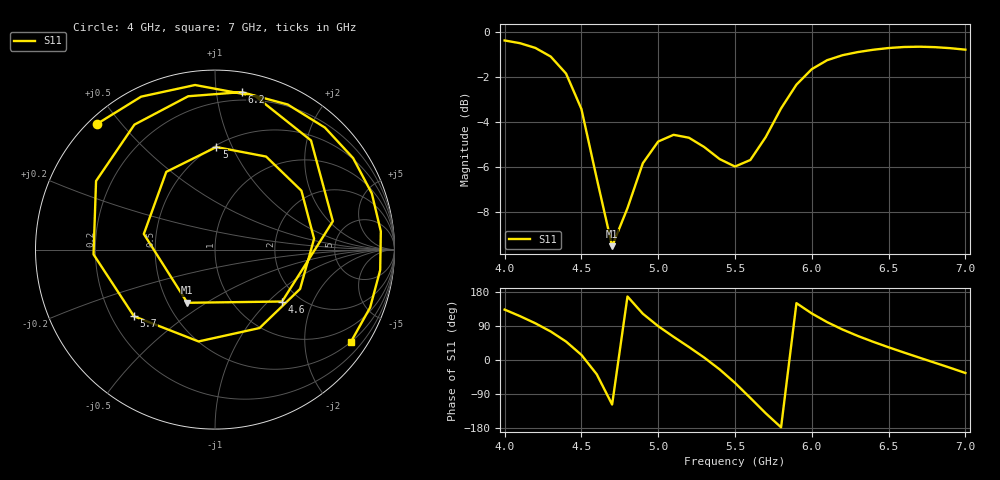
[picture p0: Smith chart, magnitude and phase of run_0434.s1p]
! Touchstone file exported from HFSS 2024.2.0
!  File:  C:/Users/wsak9/Desktop/Sim Fast/Widenad Patch/WP_AI_V1_sweep.aedt
!  Generated:  09:49:26 AM Oct 14, 2026
!  Design:  A1_model
!  Project:  WP_AI_V1_sweep
!  Setup:  Setup1
!  Solution:  Sweep
! Variables:
!  Air_gap = 2.47mm
!  Curve_Amp1 = 2.49
!  Curve_len1 = 1
!  Curve_pos = 11.91mm
!  Extra = 2.08mm
!  H_sub = 0.79mm
!  L_Patch = 19.82mm
!  L_Patch1 = 16.73mm
!  Sx = 4.13mm
!  Sy = 2.87mm
!  WS = 0.91mm
!  W_Patch = 10.24mm
!  W_Patch1 = 14.65mm
!Data is not renormalized
# GHz S MA
! Terminal data exported
! Port[1] = 1
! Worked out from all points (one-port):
!   31 points, 4 GHz to 7 GHz, reference per port
!   lowest |S11| = -9.5 dB at 4.7 GHz (marker M1), VSWR 2.00
!   |S11| at or under -10 dB: nowhere
!   S11 on the Smith chart (normalised r, x): 4 GHz: 0.02, +0.43; 4.6 GHz: 1.63, -1.22; 5 GHz: 0.51, +0.87; 5.7 GHz: 0.29, -0.33; 6.2 GHz: 0.14, +1.17; 7 GHz: 0.50, -3.17
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4  0.9597 133.0
4.1  0.9464 115.8
4.2  0.9237 96.9
4.3  0.8837 75.2
4.4  0.8099 48.7
4.5  0.6754 13.5
4.6  0.4726 -37.7
4.7  0.334 -117.5
4.8  0.406 167.6
4.9  0.5112 122.1
5  0.5714 89.3
5.1  0.5914 61.2
5.2  0.5827 34.3
5.3  0.5554 6.2
5.4  0.5222 -24.8
5.5  0.5025 -60.4
5.6  0.5198 -100.1
5.7  0.5846 -140.6
5.8  0.6773 -177.7
5.9  0.765 150.0
6  0.8285 122.8
6.1  0.8673 99.9
6.2  0.8898 80.4
6.3  0.9042 63.4
6.5  0.9231 33.5
6.7  0.9294 6.3
6.8  0.9274 -7.1
7  0.9155 -34.3
